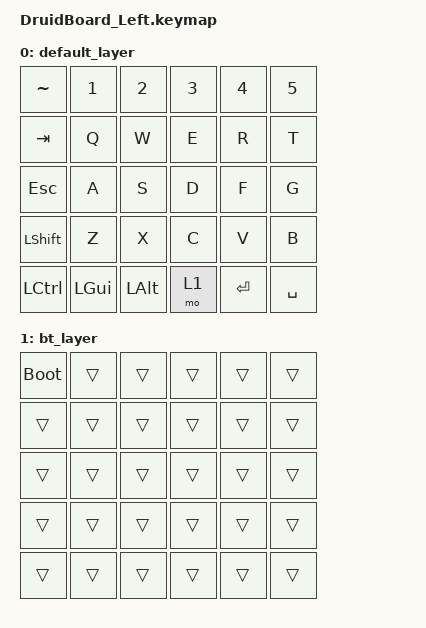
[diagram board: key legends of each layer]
#include <behaviors.dtsi>
#include <dt-bindings/zmk/keys.h>
#include <dt-bindings/zmk/bt.h>

/ {
    keymap {
        compatible = "zmk,keymap";

        default_layer {
            bindings = <
                &kp TILDE   &kp N1      &kp N2      &kp N3 &kp N4  &kp N5
                &kp TAB     &kp Q       &kp W       &kp E  &kp R  &kp T
                &kp ESC     &kp A       &kp S       &kp D  &kp F  &kp G
                &kp LSHIFT  &kp Z       &kp X       &kp C  &kp V  &kp B
                &kp LCTRL   &kp LGUI    &kp LALT    &mo 1  &kp RET  &kp SPACE
            >;
        };

        bt_layer {
            bindings = <
                &bootloader &trans      &trans      &trans &trans &trans  
                &trans      &trans      &trans      &trans &trans &trans  
                &trans      &trans      &trans      &trans &trans &trans  
                &trans      &trans      &trans      &trans &trans &trans  
                &trans      &trans      &trans      &trans &trans &trans  
            >;
        };
    };
};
